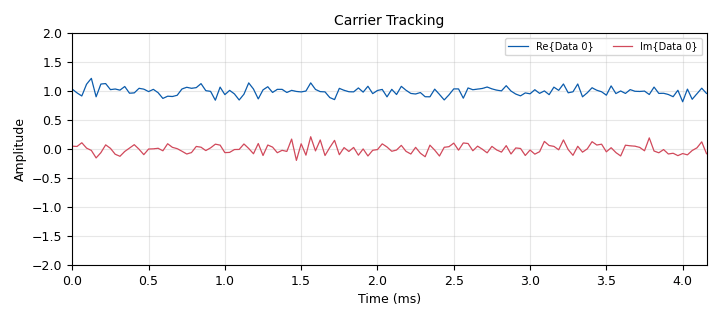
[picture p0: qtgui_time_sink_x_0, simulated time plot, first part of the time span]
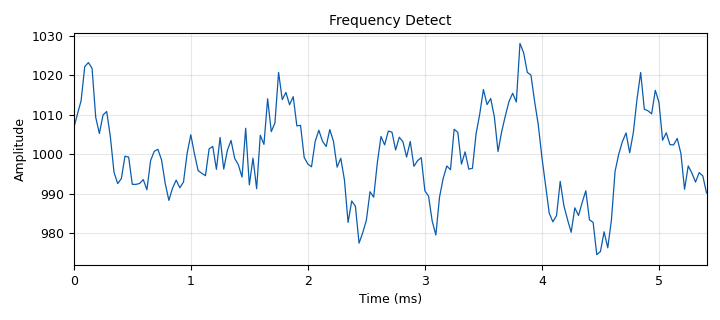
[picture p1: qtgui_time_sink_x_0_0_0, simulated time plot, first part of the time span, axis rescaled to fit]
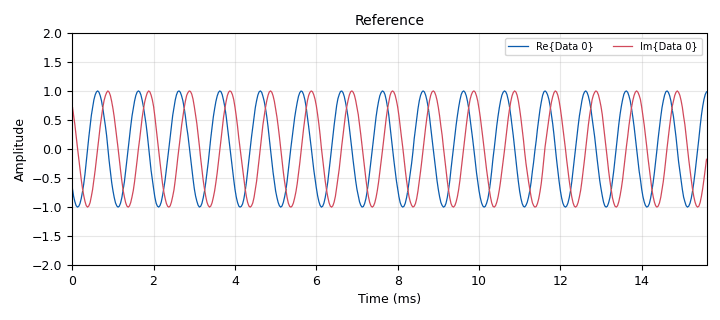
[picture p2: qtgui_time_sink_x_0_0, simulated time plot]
<?xml version='1.0' encoding='utf-8'?>
<?grc format='1' created='3.7.7'?>
<flow_graph>
<block>
<key>options</key>
<param><key>id</key><value>analog_pll</value></param>
<param><key>generate_options</key><value>qt_gui</value></param>
<param><key>category</key><value>Custom</value></param>
<param><key>run_options</key><value>run</value></param>
</block>
<block>
<key>variable</key>
<param><key>id</key><value>samp_rate</value></param>
<param><key>value</key><value>32000</value></param>
</block>
<block>
<key>analog_noise_source_x</key>
<param><key>id</key><value>analog_noise_source_x_0</value></param>
<param><key>type</key><value>complex</value></param>
<param><key>noise_type</key><value>analog.GR_GAUSSIAN</value></param>
<param><key>amp</key><value>noise</value></param>
<param><key>seed</key><value>0</value></param>
</block>
<block>
<key>import</key>
<param><key>id</key><value>import_0</value></param>
<param><key>import</key><value>import math</value></param>
</block>
<block>
<key>analog_sig_source_x</key>
<param><key>id</key><value>analog_sig_source_x_0</value></param>
<param><key>type</key><value>complex</value></param>
<param><key>samp_rate</key><value>samp_rate</value></param>
<param><key>waveform</key><value>analog.GR_COS_WAVE</value></param>
<param><key>freq</key><value>freq</value></param>
<param><key>amp</key><value>1</value></param>
<param><key>offset</key><value>0</value></param>
</block>
<block>
<key>blocks_add_xx</key>
<param><key>id</key><value>blocks_add_xx_0</value></param>
<param><key>type</key><value>complex</value></param>
</block>
<block>
<key>blocks_throttle</key>
<param><key>id</key><value>blocks_throttle_0</value></param>
<param><key>type</key><value>complex</value></param>
<param><key>samples_per_second</key><value>samp_rate</value></param>
</block>
<block>
<key>analog_pll_freqdet_cf</key>
<param><key>id</key><value>analog_pll_freqdet_cf_0</value></param>
<param><key>w</key><value>2*3.14/100.0</value></param>
<param><key>max_freq</key><value>2000*(2*math.pi/samp_rate)</value></param>
<param><key>min_freq</key><value>0</value></param>
</block>
<block>
<key>qtgui_number_sink</key>
<param><key>id</key><value>qtgui_number_sink_0</value></param>
<param><key>type</key><value>float</value></param>
<param><key>graph_type</key><value>qtgui.NUM_GRAPH_HORIZ</value></param>
<param><key>min</key><value>-5000</value></param>
<param><key>max</key><value>5000</value></param>
<param><key>gui_hint</key><value>0,1,1,1</value></param>
</block>
<block>
<key>variable_qtgui_range</key>
<param><key>id</key><value>freq</value></param>
<param><key>label</key><value>Frequency</value></param>
<param><key>value</key><value>1000</value></param>
<param><key>start</key><value>-samp_rate/2</value></param>
<param><key>stop</key><value>samp_rate/2</value></param>
<param><key>step</key><value>100</value></param>
<param><key>orient</key><value>Qt.Horizontal</value></param>
<param><key>gui_hint</key><value>1,1,1,1</value></param>
</block>
<block>
<key>variable_qtgui_range</key>
<param><key>id</key><value>noise</value></param>
<param><key>label</key><value>Noise Amp</value></param>
<param><key>value</key><value>0.1</value></param>
<param><key>start</key><value>0</value></param>
<param><key>stop</key><value>1</value></param>
<param><key>step</key><value>0.01</value></param>
<param><key>orient</key><value>Qt.Horizontal</value></param>
<param><key>gui_hint</key><value>2,1,1,1</value></param>
</block>
<block>
<key>analog_pll_carriertracking_cc</key>
<param><key>id</key><value>analog_pll_carriertracking_cc_0</value></param>
<param><key>w</key><value>2*3.14/100.0</value></param>
<param><key>max_freq</key><value>1</value></param>
<param><key>min_freq</key><value>-1</value></param>
</block>
<block>
<key>qtgui_time_sink_x</key>
<param><key>id</key><value>qtgui_time_sink_x_0</value></param>
<param><key>type</key><value>complex</value></param>
<param><key>name</key><value>Carrier Tracking</value></param>
<param><key>size</key><value>10240</value></param>
<param><key>srate</key><value>samp_rate</value></param>
<param><key>ymin</key><value>-2</value></param>
<param><key>ymax</key><value>2</value></param>
<param><key>gui_hint</key><value>3,0,1,1</value></param>
<param><key>label1</key><value></value></param>
<param><key>color1</key><value>"blue"</value></param>
<param><key>label2</key><value></value></param>
<param><key>color2</key><value>"red"</value></param>
</block>
<block>
<key>qtgui_time_sink_x</key>
<param><key>id</key><value>qtgui_time_sink_x_0_0_0</value></param>
<param><key>type</key><value>float</value></param>
<param><key>name</key><value>Frequency Detect</value></param>
<param><key>size</key><value>10240</value></param>
<param><key>srate</key><value>samp_rate</value></param>
<param><key>ymin</key><value>-5000</value></param>
<param><key>ymax</key><value>5000</value></param>
<param><key>gui_hint</key><value>0,0,3,1</value></param>
<param><key>label1</key><value></value></param>
<param><key>color1</key><value>"blue"</value></param>
</block>
<block>
<key>analog_pll_refout_cc</key>
<param><key>id</key><value>analog_pll_refout_cc_0</value></param>
<param><key>w</key><value>2*3.14/100.0</value></param>
<param><key>max_freq</key><value>1</value></param>
<param><key>min_freq</key><value>-1</value></param>
</block>
<block>
<key>blocks_multiply_const_vxx</key>
<param><key>id</key><value>blocks_multiply_const_vxx_0</value></param>
<param><key>type</key><value>float</value></param>
<param><key>const</key><value>samp_rate  / (2*math.pi)</value></param>
</block>
<block>
<key>qtgui_time_sink_x</key>
<param><key>id</key><value>qtgui_time_sink_x_0_0</value></param>
<param><key>type</key><value>complex</value></param>
<param><key>name</key><value>Reference</value></param>
<param><key>size</key><value>500</value></param>
<param><key>srate</key><value>samp_rate</value></param>
<param><key>ymin</key><value>-2</value></param>
<param><key>ymax</key><value>2</value></param>
<param><key>gui_hint</key><value>3,1,1,1</value></param>
<param><key>label1</key><value></value></param>
<param><key>color1</key><value>"blue"</value></param>
<param><key>label2</key><value></value></param>
<param><key>color2</key><value>"red"</value></param>
</block>
<connection><source_block_id>blocks_throttle_0</source_block_id><sink_block_id>analog_pll_carriertracking_cc_0</sink_block_id><source_key>0</source_key><sink_key>0</sink_key></connection>
<connection><source_block_id>analog_sig_source_x_0</source_block_id><sink_block_id>blocks_add_xx_0</sink_block_id><source_key>0</source_key><sink_key>1</sink_key></connection>
<connection><source_block_id>analog_noise_source_x_0</source_block_id><sink_block_id>blocks_add_xx_0</sink_block_id><source_key>0</source_key><sink_key>0</sink_key></connection>
<connection><source_block_id>blocks_add_xx_0</source_block_id><sink_block_id>blocks_throttle_0</sink_block_id><source_key>0</source_key><sink_key>0</sink_key></connection>
<connection><source_block_id>blocks_throttle_0</source_block_id><sink_block_id>analog_pll_refout_cc_0</sink_block_id><source_key>0</source_key><sink_key>0</sink_key></connection>
<connection><source_block_id>analog_pll_freqdet_cf_0</source_block_id><sink_block_id>blocks_multiply_const_vxx_0</sink_block_id><source_key>0</source_key><sink_key>0</sink_key></connection>
<connection><source_block_id>blocks_multiply_const_vxx_0</source_block_id><sink_block_id>qtgui_number_sink_0</sink_block_id><source_key>0</source_key><sink_key>0</sink_key></connection>
<connection><source_block_id>analog_pll_carriertracking_cc_0</source_block_id><sink_block_id>qtgui_time_sink_x_0</sink_block_id><source_key>0</source_key><sink_key>0</sink_key></connection>
<connection><source_block_id>analog_pll_refout_cc_0</source_block_id><sink_block_id>qtgui_time_sink_x_0_0</sink_block_id><source_key>0</source_key><sink_key>0</sink_key></connection>
<connection><source_block_id>blocks_throttle_0</source_block_id><sink_block_id>analog_pll_freqdet_cf_0</sink_block_id><source_key>0</source_key><sink_key>0</sink_key></connection>
<connection><source_block_id>blocks_multiply_const_vxx_0</source_block_id><sink_block_id>qtgui_time_sink_x_0_0_0</sink_block_id><source_key>0</source_key><sink_key>0</sink_key></connection>
</flow_graph>
